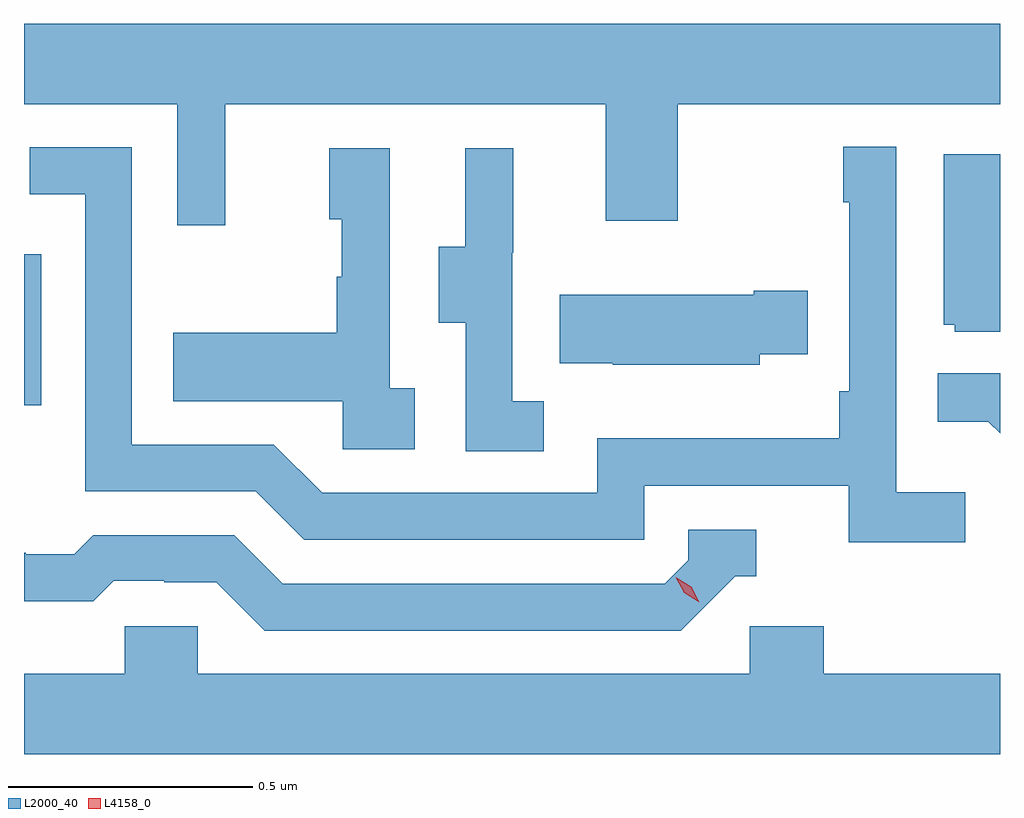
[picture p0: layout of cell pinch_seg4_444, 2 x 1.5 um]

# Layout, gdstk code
import gdstk
lib = gdstk.Library(unit=1e-6, precision=1e-09)
def R(c, l, rs):  # rectangles x0, y0, x1, y1
    for r in rs: c.add(gdstk.rectangle(r[:2], r[2:], *l))
def P(c, l, *ps):  # polygons
    for p in ps: c.add(gdstk.Polygon(p, *l))
L2000_40 = (2000, 40)
L4158_0 = (4158, 0)

pinch_seg4_444 = lib.new_cell('pinch_seg4_444')
R(pinch_seg4_444, L2000_40, [(940.903,781.551,940.938,781.86)])
P(pinch_seg4_444, L2000_40, [(941.315,782.168),(942.095,782.168),(942.095,781.929),(942.243,781.929),(942.243,782.168),(942.903,782.168),(942.903,782.332),(940.903,782.332),(940.903,782.168),(941.217,782.168),(941.217,781.92),(941.315,781.92)],
  [(942.832,781.372),(942.69,781.372),(942.69,782.08),(942.582,782.08),(942.582,781.967),(942.594,781.967),(942.594,781.579),(942.574,781.579),(942.574,781.483),(942.078,781.483),(942.078,781.371),(941.514,781.371),(941.415,781.47),(941.124,781.47),(941.124,782.079),(940.915,782.079),(940.915,781.983),(941.028,781.983),(941.028,781.374),(941.378,781.374),(941.477,781.275),(942.174,781.275),(942.174,781.386),(942.593,781.386),(942.593,781.27),(942.832,781.27)],
  [(941.704,781.586),(941.652,781.586),(941.652,782.077),(941.528,782.077),(941.528,781.932),(941.554,781.932),(941.554,781.814),(941.544,781.814),(941.544,781.699),(941.209,781.699),(941.209,781.559),(941.556,781.559),(941.556,781.461),(941.704,781.461)],
  [(941.968,781.559),(941.904,781.559),(941.904,781.863),(941.906,781.863),(941.906,782.077),(941.807,782.077),(941.807,781.875),(941.753,781.875),(941.753,781.72),(941.808,781.72),(941.808,781.456),(941.968,781.456)],
  [(942.903,782.065),(942.788,782.065),(942.788,781.716),(942.81,781.716),(942.81,781.701),(942.903,781.701)],
  [(942.411,781.655),(942.509,781.655),(942.509,781.785),(942.398,781.785),(942.398,781.777),(942.001,781.777),(942.001,781.637),(942.109,781.637),(942.109,781.634),(942.411,781.634)],
  [(942.903,781.616),(942.775,781.616),(942.775,781.517),(942.879,781.517),(942.903,781.493)],
  [(942.36,781.2),(942.403,781.2),(942.403,781.296),(942.264,781.296),(942.264,781.233),(942.216,781.185),(941.433,781.185),(941.334,781.284),(941.045,781.284),(941.006,781.245),(940.907,781.245),(940.907,781.248),(940.903,781.248),(940.903,781.149),(941.045,781.149),(941.087,781.191),(941.19,781.191),(941.19,781.188),(941.297,781.188),(941.396,781.089),(942.249,781.089)],
  [(942.903,781),(942.542,781),(942.542,781.098),(942.39,781.098),(942.39,781),(941.259,781),(941.259,781.098),(941.109,781.098),(941.109,781),(940.903,781),(940.903,780.836),(942.903,780.836)])
P(pinch_seg4_444, L4158_0, [(942.287,781.147),(942.256,781.166),(942.239,781.198),(942.239,781.198),(942.239,781.198),(942.27,781.179),(942.287,781.147),(942.287,781.147)])

lib.write_gds('pinch_seg4_444.gds')
